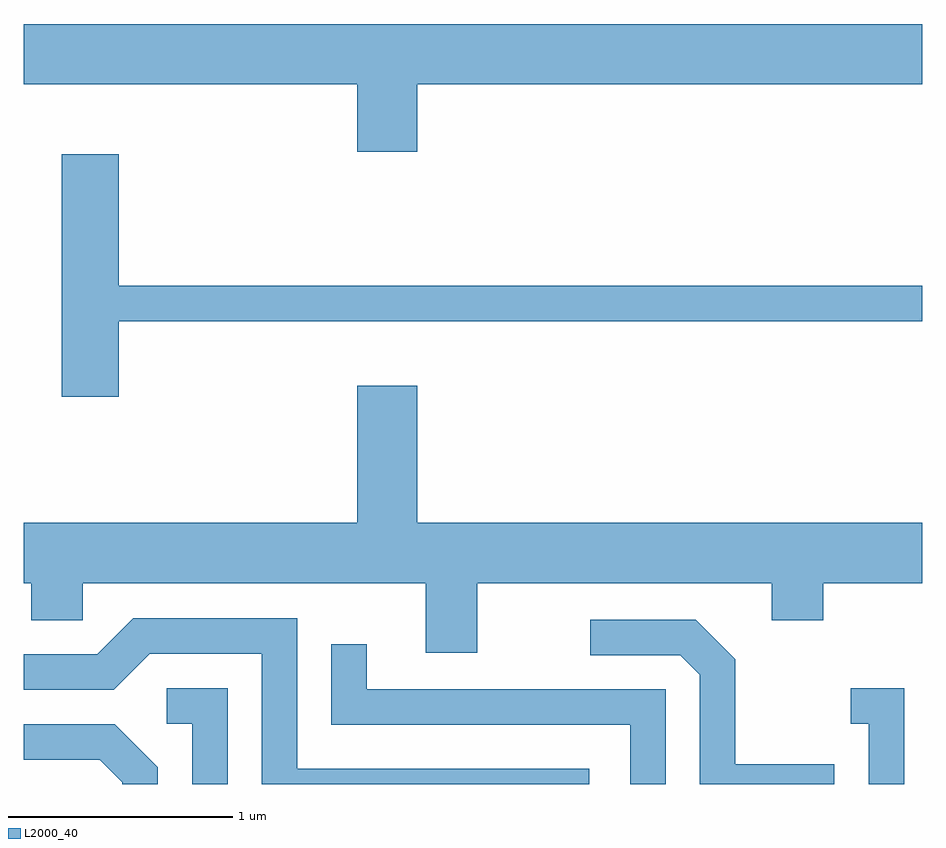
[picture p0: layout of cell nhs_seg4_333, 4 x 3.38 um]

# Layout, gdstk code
import gdstk
lib = gdstk.Library(unit=1e-6, precision=1e-09)
def P(c, l, *ps):  # polygons
    for p in ps: c.add(gdstk.Polygon(p, *l))
L2000_40 = (2000, 40)

nhs_seg4_333 = lib.new_cell('nhs_seg4_333')
P(nhs_seg4_333, L2000_40, [(195.364,1379.096),(197.611,1379.096),(197.611,1379.364),(193.611,1379.364),(193.611,1379.096),(195.096,1379.096),(195.096,1378.796),(195.364,1378.796)],
  [(194.034,1378.041),(197.611,1378.041),(197.611,1378.199),(194.034,1378.199),(194.034,1378.784),(193.781,1378.784),(193.781,1377.706),(194.034,1377.706)],
  [(195.629,1376.876),(196.941,1376.876),(196.941,1376.711),(197.169,1376.711),(197.169,1376.876),(197.611,1376.876),(197.611,1377.144),(195.364,1377.144),(195.364,1377.754),(195.096,1377.754),(195.096,1377.144),(193.611,1377.144),(193.611,1376.876),(193.646,1376.876),(193.646,1376.711),(193.874,1376.711),(193.874,1376.876),(195.401,1376.876),(195.401,1376.566),(195.629,1376.566)],
  [(196.129,1376.049),(194.829,1376.049),(194.829,1376.719),(194.099,1376.719),(193.939,1376.559),(193.611,1376.559),(193.611,1376.401),(194.012,1376.401),(194.172,1376.561),(194.671,1376.561),(194.671,1375.982),(196.129,1375.982)],
  [(197.219,1376.069),(196.779,1376.069),(196.779,1376.537),(196.602,1376.714),(196.133,1376.714),(196.133,1376.556),(196.534,1376.556),(196.621,1376.469),(196.621,1375.982),(197.219,1375.982)],
  [(196.469,1376.404),(195.139,1376.404),(195.139,1376.603),(194.981,1376.603),(194.981,1376.246),(196.311,1376.246),(196.311,1375.982),(196.469,1375.982)],
  [(197.529,1376.409),(197.293,1376.409),(197.293,1376.251),(197.371,1376.251),(197.371,1375.982),(197.529,1375.982)],
  [(194.519,1376.409),(194.248,1376.409),(194.248,1376.251),(194.361,1376.251),(194.361,1375.982),(194.519,1375.982)],
  [(194.209,1376.057),(194.017,1376.249),(193.611,1376.249),(193.611,1376.091),(193.949,1376.091),(194.051,1375.989),(194.051,1375.982),(194.209,1375.982)])

lib.write_gds('nhs_seg4_333.gds')
